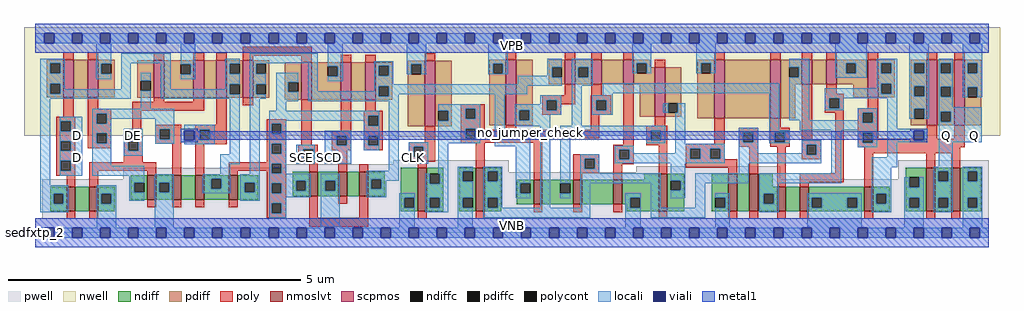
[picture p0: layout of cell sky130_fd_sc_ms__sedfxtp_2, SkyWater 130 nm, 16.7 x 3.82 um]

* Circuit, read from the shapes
.subckt sky130_fd_sc_ms__sedfxtp_2 CLK D DE SCD SCE VGND VNB VPB VPWR Q
XM1 n1 D n2 VNB sky130_fd_pr__nfet_01v8_lvt w=0.42 l=0.15
XM2 VGND DE n1 VNB sky130_fd_pr__nfet_01v8_lvt w=0.42 l=0.15
XM3 VGND DE n3 VNB sky130_fd_pr__nfet_01v8_lvt w=0.42 l=0.15
XM4 n4 n3 VGND VNB sky130_fd_pr__nfet_01v8_lvt w=0.42 l=0.15
XM5 n2 n5 n4 VNB sky130_fd_pr__nfet_01v8_lvt w=0.42 l=0.15
XM6 n6 n7 n2 VNB sky130_fd_pr__nfet_01v8_lvt w=0.42 l=0.15
XM7 VGND SCE n7 VNB sky130_fd_pr__nfet_01v8_lvt w=0.42 l=0.15
XM8 n8 SCD VGND VNB sky130_fd_pr__nfet_01v8_lvt w=0.42 l=0.15
XM9 n6 SCE n8 VNB sky130_fd_pr__nfet_01v8_lvt w=0.42 l=0.15
XM10 n9 CLK VGND VNB sky130_fd_pr__nfet_01v8_lvt w=0.74 l=0.15
XM11 n10 n9 VGND VNB sky130_fd_pr__nfet_01v8_lvt w=0.74 l=0.15
XM12 n11 n9 n6 VNB sky130_fd_pr__nfet_01v8_lvt w=0.42 l=0.15
XM13 n12 n10 n11 VNB sky130_fd_pr__nfet_01v8_lvt w=0.42 l=0.15
XM14 VGND n13 n12 VNB sky130_fd_pr__nfet_01v8_lvt w=0.42 l=0.15
XM15 n13 n11 VGND VNB sky130_fd_pr__nfet_01v8_lvt w=0.64 l=0.15
XM16 n14 n13 VGND VNB sky130_fd_pr__nfet_01v8_lvt w=0.64 l=0.15
XM17 n15 n10 n14 VNB sky130_fd_pr__nfet_01v8_lvt w=0.64 l=0.15
XM18 n16 n9 n15 VNB sky130_fd_pr__nfet_01v8_lvt w=0.42 l=0.15
XM19 VGND n5 n16 VNB sky130_fd_pr__nfet_01v8_lvt w=0.42 l=0.15
XM20 n5 n15 VGND VNB sky130_fd_pr__nfet_01v8_lvt w=0.42 l=0.15
XM21 Q n15 VGND VNB sky130_fd_pr__nfet_01v8_lvt w=0.74 l=0.15 m=2
XM22 n17 D n2 VPB sky130_fd_pr__pfet_01v8 w=0.64 l=0.18
XM23 VPWR n3 n17 VPB sky130_fd_pr__pfet_01v8 w=0.64 l=0.18
XM24 VPWR DE n3 VPB sky130_fd_pr__pfet_01v8 w=0.64 l=0.18
XM25 n18 DE VPWR VPB sky130_fd_pr__pfet_01v8 w=0.64 l=0.18
XM26 n2 n5 n18 VPB sky130_fd_pr__pfet_01v8 w=0.64 l=0.18
XM27 n6 SCE n2 VPB sky130_fd_pr__pfet_01v8 w=0.64 l=0.18
XM28 VPWR SCE n7 VPB sky130_fd_pr__pfet_01v8 w=0.64 l=0.18
XM29 n19 SCD VPWR VPB sky130_fd_pr__pfet_01v8 w=0.64 l=0.18
XM30 n6 n7 n19 VPB sky130_fd_pr__pfet_01v8 w=0.64 l=0.18
XM31 n9 CLK VPWR VPB sky130_fd_pr__pfet_01v8 w=1.12 l=0.18
XM32 n10 n9 VPWR VPB sky130_fd_pr__pfet_01v8 w=1.12 l=0.18
XM33 n11 n10 n6 VPB sky130_fd_pr__pfet_01v8 w=0.42 l=0.18
XM34 n20 n9 n11 VPB sky130_fd_pr__pfet_01v8 w=0.42 l=0.18
XM35 VPWR n13 n20 VPB sky130_fd_pr__pfet_01v8 w=0.42 l=0.18
XM36 n13 n11 VPWR VPB sky130_fd_pr__pfet_01v8 w=0.84 l=0.18
XM37 n21 n13 VPWR VPB sky130_fd_pr__pfet_01v8 w=1 l=0.18
XM38 n15 n9 n21 VPB sky130_fd_pr__pfet_01v8 w=1 l=0.18
XM39 n22 n10 n15 VPB sky130_fd_pr__pfet_01v8 w=0.42 l=0.18
XM40 VPWR n5 n22 VPB sky130_fd_pr__pfet_01v8 w=0.42 l=0.18
XM41 n5 n15 VPWR VPB sky130_fd_pr__pfet_01v8 w=0.64 l=0.18
XM42 Q n15 VPWR VPB sky130_fd_pr__pfet_01v8 w=1.12 l=0.18 m=2
.ends

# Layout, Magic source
magic
tech sky130A
magscale 1 2
<< nwell >>
rect -38 332 3302 704
rect 1240 328 1461 332
<< pwell >>
rect 1225 235 1621 248
rect 855 223 1621 235
rect 301 207 1621 223
rect 2058 207 2550 228
rect 301 184 2550 207
rect 2953 184 3263 248
rect 25 49 3263 184
rect 0 0 3264 49
<< scpmos >>
rect 96 464 132 592
rect 180 464 216 592
rect 406 463 442 591
rect 542 463 578 591
rect 620 463 656 591
rect 710 463 746 591
rect 910 455 946 583
rect 1046 455 1082 583
rect 1130 455 1166 583
rect 1333 364 1369 588
rect 1611 368 1647 592
rect 1813 508 1849 592
rect 1903 508 1939 592
rect 2013 508 2049 592
rect 2120 398 2156 566
rect 2324 392 2360 592
rect 2516 392 2552 592
rect 2624 508 2660 592
rect 2708 508 2744 592
rect 2850 464 2886 592
rect 3052 368 3088 592
rect 3145 368 3181 592
<< nmoslvt >>
rect 108 74 138 158
rect 186 74 216 158
rect 384 113 414 197
rect 470 113 500 197
rect 548 113 578 197
rect 663 113 693 197
rect 938 125 968 209
rect 1038 125 1068 209
rect 1110 125 1140 209
rect 1310 74 1340 222
rect 1508 74 1538 222
rect 1706 97 1736 181
rect 1842 97 1872 181
rect 1979 97 2009 181
rect 2134 74 2164 202
rect 2372 74 2402 202
rect 2444 74 2474 202
rect 2539 74 2569 158
rect 2617 74 2647 158
rect 2838 74 2868 158
rect 3050 74 3080 222
rect 3136 74 3166 222
<< ndiff >>
rect 327 172 384 197
rect 51 133 108 158
rect 51 99 63 133
rect 97 99 108 133
rect 51 74 108 99
rect 138 74 186 158
rect 216 133 273 158
rect 216 99 227 133
rect 261 99 273 133
rect 327 138 339 172
rect 373 138 384 172
rect 327 113 384 138
rect 414 172 470 197
rect 414 138 425 172
rect 459 138 470 172
rect 414 113 470 138
rect 500 113 548 197
rect 578 185 663 197
rect 578 151 603 185
rect 637 151 663 185
rect 578 113 663 151
rect 693 172 764 197
rect 693 138 718 172
rect 752 138 764 172
rect 693 113 764 138
rect 216 74 273 99
rect 881 178 938 209
rect 881 144 893 178
rect 927 144 938 178
rect 881 125 938 144
rect 968 178 1038 209
rect 968 144 993 178
rect 1027 144 1038 178
rect 968 125 1038 144
rect 1068 125 1110 209
rect 1140 184 1197 209
rect 1140 150 1151 184
rect 1185 150 1197 184
rect 1140 125 1197 150
rect 1251 120 1310 222
rect 1251 86 1264 120
rect 1298 86 1310 120
rect 1251 74 1310 86
rect 1340 202 1397 222
rect 1340 168 1351 202
rect 1385 168 1397 202
rect 1340 120 1397 168
rect 1340 86 1351 120
rect 1385 86 1397 120
rect 1340 74 1397 86
rect 1451 210 1508 222
rect 1451 176 1463 210
rect 1497 176 1508 210
rect 1451 120 1508 176
rect 1451 86 1463 120
rect 1497 86 1508 120
rect 1451 74 1508 86
rect 1538 210 1595 222
rect 1538 176 1549 210
rect 1583 176 1595 210
rect 2084 181 2134 202
rect 1538 120 1595 176
rect 1538 86 1549 120
rect 1583 86 1595 120
rect 1649 169 1706 181
rect 1649 135 1661 169
rect 1695 135 1706 169
rect 1649 97 1706 135
rect 1736 169 1842 181
rect 1736 135 1797 169
rect 1831 135 1842 169
rect 1736 97 1842 135
rect 1872 97 1979 181
rect 2009 120 2134 181
rect 2009 97 2037 120
rect 1538 74 1595 86
rect 2024 86 2037 97
rect 2071 86 2134 120
rect 2024 74 2134 86
rect 2164 179 2221 202
rect 2164 145 2175 179
rect 2209 145 2221 179
rect 2164 74 2221 145
rect 2315 120 2372 202
rect 2315 86 2327 120
rect 2361 86 2372 120
rect 2315 74 2372 86
rect 2402 74 2444 202
rect 2474 158 2524 202
rect 2979 190 3050 222
rect 2474 133 2539 158
rect 2474 99 2494 133
rect 2528 99 2539 133
rect 2474 74 2539 99
rect 2569 74 2617 158
rect 2647 120 2838 158
rect 2647 86 2658 120
rect 2692 86 2779 120
rect 2813 86 2838 120
rect 2647 74 2838 86
rect 2868 133 2925 158
rect 2868 99 2879 133
rect 2913 99 2925 133
rect 2868 74 2925 99
rect 2979 156 2991 190
rect 3025 156 3050 190
rect 2979 120 3050 156
rect 2979 86 2991 120
rect 3025 86 3050 120
rect 2979 74 3050 86
rect 3080 210 3136 222
rect 3080 176 3091 210
rect 3125 176 3136 210
rect 3080 120 3136 176
rect 3080 86 3091 120
rect 3125 86 3136 120
rect 3080 74 3136 86
rect 3166 210 3237 222
rect 3166 176 3191 210
rect 3225 176 3237 210
rect 3166 120 3237 176
rect 3166 86 3191 120
rect 3225 86 3237 120
rect 3166 74 3237 86
<< pdiff >>
rect 40 580 96 592
rect 40 546 52 580
rect 86 546 96 580
rect 40 510 96 546
rect 40 476 52 510
rect 86 476 96 510
rect 40 464 96 476
rect 132 464 180 592
rect 216 578 272 592
rect 216 544 226 578
rect 260 544 272 578
rect 216 464 272 544
rect 350 520 406 591
rect 350 486 362 520
rect 396 486 406 520
rect 350 463 406 486
rect 442 577 542 591
rect 442 543 498 577
rect 532 543 542 577
rect 442 463 542 543
rect 578 463 620 591
rect 656 579 710 591
rect 656 545 666 579
rect 700 545 710 579
rect 656 509 710 545
rect 656 475 666 509
rect 700 475 710 509
rect 656 463 710 475
rect 746 579 801 591
rect 746 545 756 579
rect 790 545 801 579
rect 746 509 801 545
rect 746 475 756 509
rect 790 475 801 509
rect 746 463 801 475
rect 855 516 910 583
rect 855 482 866 516
rect 900 482 910 516
rect 855 455 910 482
rect 946 570 1046 583
rect 946 536 1002 570
rect 1036 536 1046 570
rect 946 455 1046 536
rect 1082 455 1130 583
rect 1166 571 1222 583
rect 1166 537 1176 571
rect 1210 537 1222 571
rect 1166 501 1222 537
rect 1166 467 1176 501
rect 1210 467 1222 501
rect 1166 455 1222 467
rect 1276 576 1333 588
rect 1276 542 1288 576
rect 1322 542 1333 576
rect 1276 364 1333 542
rect 1369 417 1425 588
rect 1555 578 1611 592
rect 1555 544 1567 578
rect 1601 544 1611 578
rect 1369 383 1379 417
rect 1413 383 1425 417
rect 1369 364 1425 383
rect 1555 368 1611 544
rect 1647 419 1703 592
rect 1757 567 1813 592
rect 1757 533 1769 567
rect 1803 533 1813 567
rect 1757 508 1813 533
rect 1849 567 1903 592
rect 1849 533 1859 567
rect 1893 533 1903 567
rect 1849 508 1903 533
rect 1939 508 2013 592
rect 2049 580 2105 592
rect 2049 546 2059 580
rect 2093 566 2105 580
rect 2266 580 2324 592
rect 2093 546 2120 566
rect 2049 508 2120 546
rect 1647 385 1657 419
rect 1691 385 1703 419
rect 1647 368 1703 385
rect 2070 398 2120 508
rect 2156 444 2212 566
rect 2156 410 2166 444
rect 2200 410 2212 444
rect 2156 398 2212 410
rect 2266 546 2279 580
rect 2313 546 2324 580
rect 2266 392 2324 546
rect 2360 392 2516 592
rect 2552 567 2624 592
rect 2552 533 2580 567
rect 2614 533 2624 567
rect 2552 508 2624 533
rect 2660 508 2708 592
rect 2744 580 2850 592
rect 2744 546 2775 580
rect 2809 546 2850 580
rect 2744 508 2850 546
rect 2552 392 2602 508
rect 2800 464 2850 508
rect 2886 580 2942 592
rect 2886 546 2896 580
rect 2930 546 2942 580
rect 2886 510 2942 546
rect 2886 476 2896 510
rect 2930 476 2942 510
rect 2886 464 2942 476
rect 2996 580 3052 592
rect 2996 546 3008 580
rect 3042 546 3052 580
rect 2996 501 3052 546
rect 2996 467 3008 501
rect 3042 467 3052 501
rect 2996 424 3052 467
rect 2996 390 3008 424
rect 3042 390 3052 424
rect 2996 368 3052 390
rect 3088 580 3145 592
rect 3088 546 3099 580
rect 3133 546 3145 580
rect 3088 499 3145 546
rect 3088 465 3099 499
rect 3133 465 3145 499
rect 3088 414 3145 465
rect 3088 380 3099 414
rect 3133 380 3145 414
rect 3088 368 3145 380
rect 3181 580 3237 592
rect 3181 546 3191 580
rect 3225 546 3237 580
rect 3181 498 3237 546
rect 3181 464 3191 498
rect 3225 464 3237 498
rect 3181 368 3237 464
<< ndiffc >>
rect 63 99 97 133
rect 227 99 261 133
rect 339 138 373 172
rect 425 138 459 172
rect 603 151 637 185
rect 718 138 752 172
rect 893 144 927 178
rect 993 144 1027 178
rect 1151 150 1185 184
rect 1264 86 1298 120
rect 1351 168 1385 202
rect 1351 86 1385 120
rect 1463 176 1497 210
rect 1463 86 1497 120
rect 1549 176 1583 210
rect 1549 86 1583 120
rect 1661 135 1695 169
rect 1797 135 1831 169
rect 2037 86 2071 120
rect 2175 145 2209 179
rect 2327 86 2361 120
rect 2494 99 2528 133
rect 2658 86 2692 120
rect 2779 86 2813 120
rect 2879 99 2913 133
rect 2991 156 3025 190
rect 2991 86 3025 120
rect 3091 176 3125 210
rect 3091 86 3125 120
rect 3191 176 3225 210
rect 3191 86 3225 120
<< pdiffc >>
rect 52 546 86 580
rect 52 476 86 510
rect 226 544 260 578
rect 362 486 396 520
rect 498 543 532 577
rect 666 545 700 579
rect 666 475 700 509
rect 756 545 790 579
rect 756 475 790 509
rect 866 482 900 516
rect 1002 536 1036 570
rect 1176 537 1210 571
rect 1176 467 1210 501
rect 1288 542 1322 576
rect 1567 544 1601 578
rect 1379 383 1413 417
rect 1769 533 1803 567
rect 1859 533 1893 567
rect 2059 546 2093 580
rect 1657 385 1691 419
rect 2166 410 2200 444
rect 2279 546 2313 580
rect 2580 533 2614 567
rect 2775 546 2809 580
rect 2896 546 2930 580
rect 2896 476 2930 510
rect 3008 546 3042 580
rect 3008 467 3042 501
rect 3008 390 3042 424
rect 3099 546 3133 580
rect 3099 465 3133 499
rect 3099 380 3133 414
rect 3191 546 3225 580
rect 3191 464 3225 498
<< poly >>
rect 96 592 132 618
rect 180 592 216 618
rect 406 591 442 617
rect 542 591 578 617
rect 620 591 656 617
rect 710 606 946 636
rect 710 591 746 606
rect 96 398 132 464
rect 180 424 216 464
rect 910 583 946 606
rect 1046 583 1082 609
rect 1130 583 1166 609
rect 1333 588 1369 614
rect 1611 592 1647 618
rect 1813 592 1849 618
rect 1903 592 1939 618
rect 2013 592 2049 618
rect 2324 592 2360 618
rect 2516 592 2552 618
rect 2624 592 2660 618
rect 2708 592 2744 618
rect 2850 592 2886 618
rect 3052 592 3088 618
rect 3145 592 3181 618
rect 406 448 442 463
rect 542 448 578 463
rect 180 408 261 424
rect 72 382 138 398
rect 72 348 88 382
rect 122 348 138 382
rect 72 314 138 348
rect 72 280 88 314
rect 122 280 138 314
rect 180 374 211 408
rect 245 374 261 408
rect 180 340 261 374
rect 180 306 211 340
rect 245 306 261 340
rect 333 418 578 448
rect 333 330 363 418
rect 411 354 500 370
rect 620 369 656 463
rect 710 437 746 463
rect 180 290 261 306
rect 303 314 369 330
rect 72 246 138 280
rect 72 212 88 246
rect 122 212 138 246
rect 303 280 319 314
rect 353 280 369 314
rect 411 320 427 354
rect 461 320 500 354
rect 411 304 500 320
rect 303 242 369 280
rect 72 196 138 212
rect 108 158 138 196
rect 186 212 414 242
rect 186 158 216 212
rect 384 197 414 212
rect 470 197 500 304
rect 548 353 656 369
rect 548 319 564 353
rect 598 319 656 353
rect 548 303 656 319
rect 793 373 859 389
rect 793 339 809 373
rect 843 339 859 373
rect 793 305 859 339
rect 548 197 578 303
rect 793 271 809 305
rect 843 271 859 305
rect 910 302 946 455
rect 1046 349 1082 455
rect 1130 417 1166 455
rect 1016 333 1082 349
rect 793 242 859 271
rect 663 237 859 242
rect 663 212 809 237
rect 663 197 693 212
rect 793 203 809 212
rect 843 203 859 237
rect 901 286 968 302
rect 901 252 917 286
rect 951 252 968 286
rect 1016 299 1032 333
rect 1066 299 1082 333
rect 1016 283 1082 299
rect 1124 401 1190 417
rect 1124 367 1140 401
rect 1174 367 1190 401
rect 1124 333 1190 367
rect 1457 424 1538 440
rect 1457 390 1473 424
rect 1507 390 1538 424
rect 1124 299 1140 333
rect 1174 299 1190 333
rect 1333 310 1369 364
rect 1124 283 1190 299
rect 1279 294 1369 310
rect 1457 356 1538 390
rect 2120 566 2156 592
rect 1813 470 1849 508
rect 1903 470 1939 508
rect 1735 454 1849 470
rect 1735 420 1751 454
rect 1785 440 1849 454
rect 1901 454 1971 470
rect 1785 420 1801 440
rect 1735 404 1801 420
rect 1901 420 1921 454
rect 1955 420 1971 454
rect 1901 404 1971 420
rect 1457 322 1473 356
rect 1507 353 1538 356
rect 1611 353 1647 368
rect 1901 353 1931 404
rect 1507 323 1931 353
rect 1507 322 1736 323
rect 1457 309 1736 322
rect 1457 306 1538 309
rect 901 236 968 252
rect 938 209 968 236
rect 1038 209 1068 283
rect 1279 260 1295 294
rect 1329 260 1369 294
rect 1279 244 1369 260
rect 1110 209 1140 235
rect 1310 222 1340 244
rect 1508 222 1538 306
rect 793 169 859 203
rect 793 135 809 169
rect 843 135 859 169
rect 384 87 414 113
rect 470 87 500 113
rect 548 87 578 113
rect 663 87 693 113
rect 793 101 859 135
rect 108 48 138 74
rect 186 48 216 74
rect 793 67 809 101
rect 843 67 859 101
rect 793 51 859 67
rect 938 51 968 125
rect 1038 99 1068 125
rect 1110 51 1140 125
rect 1706 181 1736 309
rect 2013 301 2049 508
rect 2120 366 2156 398
rect 1979 285 2049 301
rect 2091 350 2164 366
rect 2091 316 2107 350
rect 2141 316 2164 350
rect 2091 300 2164 316
rect 2324 304 2360 392
rect 2516 360 2552 392
rect 1842 253 1931 269
rect 1842 219 1881 253
rect 1915 219 1931 253
rect 1842 203 1931 219
rect 1979 251 1999 285
rect 2033 251 2049 285
rect 1979 235 2049 251
rect 1842 181 1872 203
rect 1979 181 2009 235
rect 2134 202 2164 300
rect 2226 288 2360 304
rect 2408 344 2474 360
rect 2408 310 2424 344
rect 2458 310 2474 344
rect 2408 294 2474 310
rect 2516 344 2582 360
rect 2516 310 2532 344
rect 2566 310 2582 344
rect 2516 294 2582 310
rect 2624 317 2660 508
rect 2708 476 2744 508
rect 2702 460 2768 476
rect 2702 426 2718 460
rect 2752 426 2768 460
rect 2850 426 2886 464
rect 2702 410 2768 426
rect 2624 301 2690 317
rect 2226 254 2242 288
rect 2276 254 2310 288
rect 2344 254 2360 288
rect 2226 252 2360 254
rect 2226 222 2402 252
rect 2372 202 2402 222
rect 2444 202 2474 294
rect 938 21 1140 51
rect 1310 48 1340 74
rect 1508 48 1538 74
rect 1706 71 1736 97
rect 1842 71 1872 97
rect 1979 71 2009 97
rect 2539 158 2569 294
rect 2624 267 2640 301
rect 2674 267 2690 301
rect 2624 251 2690 267
rect 2738 203 2768 410
rect 2816 410 2886 426
rect 2816 376 2832 410
rect 2866 376 2886 410
rect 2816 342 2886 376
rect 2816 308 2832 342
rect 2866 322 2886 342
rect 3052 322 3088 368
rect 3145 322 3181 368
rect 2866 308 3181 322
rect 2816 292 3181 308
rect 2617 173 2768 203
rect 2838 272 3166 292
rect 2617 158 2647 173
rect 2838 158 2868 272
rect 3050 222 3080 272
rect 3136 222 3166 272
rect 2134 48 2164 74
rect 2372 48 2402 74
rect 2444 48 2474 74
rect 2539 48 2569 74
rect 2617 48 2647 74
rect 2838 48 2868 74
rect 3050 48 3080 74
rect 3136 48 3166 74
<< polycont >>
rect 88 348 122 382
rect 88 280 122 314
rect 211 374 245 408
rect 211 306 245 340
rect 88 212 122 246
rect 319 280 353 314
rect 427 320 461 354
rect 564 319 598 353
rect 809 339 843 373
rect 809 271 843 305
rect 809 203 843 237
rect 917 252 951 286
rect 1032 299 1066 333
rect 1140 367 1174 401
rect 1473 390 1507 424
rect 1140 299 1174 333
rect 1751 420 1785 454
rect 1921 420 1955 454
rect 1473 322 1507 356
rect 1295 260 1329 294
rect 809 135 843 169
rect 809 67 843 101
rect 2107 316 2141 350
rect 1881 219 1915 253
rect 1999 251 2033 285
rect 2424 310 2458 344
rect 2532 310 2566 344
rect 2718 426 2752 460
rect 2242 254 2276 288
rect 2310 254 2344 288
rect 2640 267 2674 301
rect 2832 376 2866 410
rect 2832 308 2866 342
<< locali >>
rect 0 649 31 683
rect 65 649 127 683
rect 161 649 223 683
rect 257 649 319 683
rect 353 649 415 683
rect 449 649 511 683
rect 545 649 607 683
rect 641 649 703 683
rect 737 649 799 683
rect 833 649 895 683
rect 929 649 991 683
rect 1025 649 1087 683
rect 1121 649 1183 683
rect 1217 649 1279 683
rect 1313 649 1375 683
rect 1409 649 1471 683
rect 1505 649 1567 683
rect 1601 649 1663 683
rect 1697 649 1759 683
rect 1793 649 1855 683
rect 1889 649 1951 683
rect 1985 649 2047 683
rect 2081 649 2143 683
rect 2177 649 2239 683
rect 2273 649 2335 683
rect 2369 649 2431 683
rect 2465 649 2527 683
rect 2561 649 2623 683
rect 2657 649 2719 683
rect 2753 649 2815 683
rect 2849 649 2911 683
rect 2945 649 3007 683
rect 3041 649 3103 683
rect 3137 649 3199 683
rect 3233 649 3264 683
rect 17 580 102 596
rect 17 546 52 580
rect 86 546 102 580
rect 17 510 102 546
rect 210 578 260 649
rect 210 544 226 578
rect 210 526 260 544
rect 294 581 464 615
rect 17 476 52 510
rect 86 492 102 510
rect 294 492 328 581
rect 86 476 328 492
rect 17 458 328 476
rect 362 520 396 547
rect 17 162 51 458
rect 362 424 396 486
rect 430 492 464 581
rect 498 577 548 649
rect 532 543 548 577
rect 498 526 548 543
rect 650 579 700 595
rect 650 545 666 579
rect 650 509 700 545
rect 650 492 666 509
rect 430 475 666 492
rect 430 458 700 475
rect 195 408 477 424
rect 85 382 161 398
rect 85 348 88 382
rect 122 348 161 382
rect 85 314 161 348
rect 85 280 88 314
rect 122 280 161 314
rect 85 246 161 280
rect 85 212 88 246
rect 122 212 161 246
rect 85 196 161 212
rect 195 374 211 408
rect 245 390 477 408
rect 245 374 261 390
rect 195 340 261 374
rect 195 306 211 340
rect 245 306 261 340
rect 195 230 261 306
rect 303 314 369 356
rect 303 280 319 314
rect 353 280 369 314
rect 411 354 477 390
rect 411 320 427 354
rect 461 320 477 354
rect 411 304 477 320
rect 511 353 614 369
rect 511 350 564 353
rect 545 319 564 350
rect 598 319 614 353
rect 545 316 614 319
rect 511 303 614 316
rect 303 264 369 280
rect 666 269 700 458
rect 634 235 700 269
rect 734 581 968 615
rect 734 579 790 581
rect 734 545 756 579
rect 734 509 790 545
rect 734 475 756 509
rect 734 459 790 475
rect 825 516 900 547
rect 825 482 866 516
rect 195 196 373 230
rect 634 201 668 235
rect 734 201 768 459
rect 825 451 900 482
rect 934 485 968 581
rect 1002 570 1052 649
rect 1036 536 1052 570
rect 1002 519 1052 536
rect 1160 571 1226 587
rect 1160 537 1176 571
rect 1210 537 1226 571
rect 1272 576 1339 649
rect 1272 542 1288 576
rect 1322 542 1339 576
rect 1551 578 1617 649
rect 1551 544 1567 578
rect 1601 544 1617 578
rect 1551 542 1617 544
rect 1753 567 1803 596
rect 1753 538 1769 567
rect 1160 508 1226 537
rect 1651 533 1769 538
rect 1651 508 1803 533
rect 1160 504 1803 508
rect 1837 567 1909 596
rect 1837 533 1859 567
rect 1893 533 1909 567
rect 2043 580 2109 649
rect 2043 546 2059 580
rect 2093 546 2109 580
rect 2262 580 2330 649
rect 2262 546 2279 580
rect 2313 546 2330 580
rect 2580 567 2650 596
rect 1837 504 1909 533
rect 2614 533 2650 567
rect 1160 501 1685 504
rect 1160 485 1176 501
rect 934 467 1176 485
rect 1210 474 1685 501
rect 1210 467 1245 474
rect 934 451 1245 467
rect 825 417 859 451
rect 323 172 373 196
rect 17 133 113 162
rect 17 99 63 133
rect 97 99 113 133
rect 17 70 113 99
rect 211 133 277 162
rect 211 99 227 133
rect 261 99 277 133
rect 323 138 339 172
rect 323 109 373 138
rect 409 172 475 201
rect 409 138 425 172
rect 459 138 475 172
rect 211 17 277 99
rect 409 17 475 138
rect 573 185 668 201
rect 573 151 603 185
rect 637 151 668 185
rect 573 135 668 151
rect 702 172 768 201
rect 702 138 718 172
rect 752 138 768 172
rect 702 109 768 138
rect 802 401 1177 417
rect 802 383 1140 401
rect 802 373 859 383
rect 802 339 809 373
rect 843 339 859 373
rect 1124 367 1140 383
rect 1174 367 1177 401
rect 802 305 859 339
rect 802 271 809 305
rect 843 271 859 305
rect 991 333 1082 349
rect 802 237 859 271
rect 802 203 809 237
rect 843 203 859 237
rect 893 286 957 302
rect 893 252 917 286
rect 951 252 957 286
rect 893 236 957 252
rect 991 299 1032 333
rect 1066 299 1082 333
rect 991 236 1082 299
rect 1124 333 1177 367
rect 1124 299 1140 333
rect 1174 299 1177 333
rect 1124 283 1177 299
rect 1211 213 1245 451
rect 1379 424 1523 440
rect 1379 417 1473 424
rect 1413 390 1473 417
rect 1507 390 1523 424
rect 1413 383 1523 390
rect 1379 356 1523 383
rect 1379 322 1473 356
rect 1507 322 1523 356
rect 1279 294 1345 310
rect 1279 260 1295 294
rect 1329 260 1345 294
rect 1279 236 1345 260
rect 1379 306 1523 322
rect 1573 330 1607 474
rect 1729 454 1801 470
rect 1729 440 1751 454
rect 1641 420 1751 440
rect 1785 420 1801 454
rect 1641 419 1801 420
rect 1641 385 1657 419
rect 1691 404 1801 419
rect 1691 385 1763 404
rect 1641 364 1763 385
rect 1837 366 1871 504
rect 1943 478 2546 512
rect 1943 470 1977 478
rect 1905 454 1977 470
rect 1905 420 1921 454
rect 1955 420 1977 454
rect 1905 404 1977 420
rect 2150 410 2166 444
rect 2200 410 2225 444
rect 802 202 859 203
rect 802 178 943 202
rect 802 169 893 178
rect 802 135 809 169
rect 843 144 893 169
rect 927 144 943 178
rect 843 135 943 144
rect 802 121 943 135
rect 977 178 1043 202
rect 977 144 993 178
rect 1027 144 1043 178
rect 802 101 859 121
rect 802 67 809 101
rect 843 67 859 101
rect 802 51 859 67
rect 977 17 1043 144
rect 1135 184 1245 213
rect 1379 202 1413 306
rect 1573 296 1695 330
rect 1135 150 1151 184
rect 1185 179 1245 184
rect 1185 150 1201 179
rect 1135 121 1201 150
rect 1335 168 1351 202
rect 1385 168 1413 202
rect 1247 120 1299 136
rect 1247 86 1264 120
rect 1298 86 1299 120
rect 1247 17 1299 86
rect 1335 120 1413 168
rect 1335 86 1351 120
rect 1385 86 1413 120
rect 1335 70 1413 86
rect 1447 210 1497 226
rect 1447 176 1463 210
rect 1447 120 1497 176
rect 1447 86 1463 120
rect 1447 17 1497 86
rect 1533 210 1599 226
rect 1533 176 1549 210
rect 1583 176 1599 210
rect 1533 120 1599 176
rect 1533 86 1549 120
rect 1583 86 1599 120
rect 1645 169 1695 296
rect 1645 135 1661 169
rect 1645 119 1695 135
rect 1533 85 1599 86
rect 1729 85 1763 364
rect 1797 350 2157 366
rect 1797 332 2107 350
rect 1797 169 1831 332
rect 2091 316 2107 332
rect 2141 316 2157 350
rect 2091 306 2157 316
rect 2191 304 2225 410
rect 2408 344 2474 360
rect 2408 310 2424 344
rect 2458 310 2474 344
rect 1983 285 2049 298
rect 1797 119 1831 135
rect 1865 253 1931 269
rect 1865 219 1881 253
rect 1915 219 1931 253
rect 1983 251 1999 285
rect 2033 272 2049 285
rect 2191 288 2360 304
rect 2191 272 2242 288
rect 2033 254 2242 272
rect 2276 254 2310 288
rect 2344 254 2360 288
rect 2033 251 2360 254
rect 1983 238 2360 251
rect 2408 272 2474 310
rect 2512 351 2546 478
rect 2580 385 2650 533
rect 2738 580 2846 649
rect 2738 546 2775 580
rect 2809 546 2846 580
rect 2738 530 2846 546
rect 2880 580 2950 596
rect 2880 546 2896 580
rect 2930 546 2950 580
rect 2880 510 2950 546
rect 2880 494 2896 510
rect 2702 476 2896 494
rect 2930 476 2950 510
rect 2702 460 2950 476
rect 2702 426 2718 460
rect 2752 426 2768 460
rect 2702 419 2768 426
rect 2816 410 2882 426
rect 2816 385 2832 410
rect 2616 376 2832 385
rect 2866 376 2882 410
rect 2616 351 2882 376
rect 2512 344 2582 351
rect 2512 310 2532 344
rect 2566 310 2582 344
rect 2512 306 2582 310
rect 2624 301 2690 317
rect 2624 272 2640 301
rect 2408 267 2640 272
rect 2674 267 2690 301
rect 2408 238 2690 267
rect 1865 204 1931 219
rect 1865 170 2141 204
rect 1865 85 1899 170
rect 1533 51 1899 85
rect 2020 120 2073 136
rect 2020 86 2037 120
rect 2071 86 2073 120
rect 2020 17 2073 86
rect 2107 85 2141 170
rect 2175 179 2225 238
rect 2408 204 2442 238
rect 2724 204 2758 351
rect 2816 342 2882 351
rect 2816 308 2832 342
rect 2866 308 2882 342
rect 2816 292 2882 308
rect 2916 356 2950 460
rect 2992 580 3058 649
rect 2992 546 3008 580
rect 3042 546 3058 580
rect 2992 501 3058 546
rect 2992 467 3008 501
rect 3042 467 3058 501
rect 2992 424 3058 467
rect 2992 390 3008 424
rect 3042 390 3058 424
rect 3092 580 3141 596
rect 3092 546 3099 580
rect 3133 546 3141 580
rect 3092 499 3141 546
rect 3092 465 3099 499
rect 3133 465 3141 499
rect 3092 430 3141 465
rect 3175 580 3241 649
rect 3175 546 3191 580
rect 3225 546 3241 580
rect 3175 498 3241 546
rect 3175 464 3191 498
rect 3225 464 3241 498
rect 3092 414 3239 430
rect 3092 380 3099 414
rect 3133 380 3239 414
rect 2916 350 3047 356
rect 2916 316 3007 350
rect 3041 316 3047 350
rect 2916 310 3047 316
rect 3092 310 3239 380
rect 2916 258 2950 310
rect 2209 145 2225 179
rect 2175 119 2225 145
rect 2259 170 2442 204
rect 2478 170 2758 204
rect 2863 224 2950 258
rect 3092 226 3141 310
rect 2259 85 2293 170
rect 2107 51 2293 85
rect 2327 120 2377 136
rect 2361 86 2377 120
rect 2327 17 2377 86
rect 2478 133 2544 170
rect 2478 99 2494 133
rect 2528 99 2544 133
rect 2478 70 2544 99
rect 2642 120 2829 136
rect 2642 86 2658 120
rect 2692 86 2779 120
rect 2813 86 2829 120
rect 2642 17 2829 86
rect 2863 133 2929 224
rect 3075 210 3141 226
rect 2863 99 2879 133
rect 2913 99 2929 133
rect 2863 70 2929 99
rect 2975 156 2991 190
rect 3025 156 3041 190
rect 2975 120 3041 156
rect 2975 86 2991 120
rect 3025 86 3041 120
rect 2975 17 3041 86
rect 3075 176 3091 210
rect 3125 176 3141 210
rect 3075 120 3141 176
rect 3075 86 3091 120
rect 3125 86 3141 120
rect 3075 70 3141 86
rect 3175 210 3241 226
rect 3175 176 3191 210
rect 3225 176 3241 210
rect 3175 120 3241 176
rect 3175 86 3191 120
rect 3225 86 3241 120
rect 3175 17 3241 86
rect 0 -17 31 17
rect 65 -17 127 17
rect 161 -17 223 17
rect 257 -17 319 17
rect 353 -17 415 17
rect 449 -17 511 17
rect 545 -17 607 17
rect 641 -17 703 17
rect 737 -17 799 17
rect 833 -17 895 17
rect 929 -17 991 17
rect 1025 -17 1087 17
rect 1121 -17 1183 17
rect 1217 -17 1279 17
rect 1313 -17 1375 17
rect 1409 -17 1471 17
rect 1505 -17 1567 17
rect 1601 -17 1663 17
rect 1697 -17 1759 17
rect 1793 -17 1855 17
rect 1889 -17 1951 17
rect 1985 -17 2047 17
rect 2081 -17 2143 17
rect 2177 -17 2239 17
rect 2273 -17 2335 17
rect 2369 -17 2431 17
rect 2465 -17 2527 17
rect 2561 -17 2623 17
rect 2657 -17 2719 17
rect 2753 -17 2815 17
rect 2849 -17 2911 17
rect 2945 -17 3007 17
rect 3041 -17 3103 17
rect 3137 -17 3199 17
rect 3233 -17 3264 17
<< viali >>
rect 31 649 65 683
rect 127 649 161 683
rect 223 649 257 683
rect 319 649 353 683
rect 415 649 449 683
rect 511 649 545 683
rect 607 649 641 683
rect 703 649 737 683
rect 799 649 833 683
rect 895 649 929 683
rect 991 649 1025 683
rect 1087 649 1121 683
rect 1183 649 1217 683
rect 1279 649 1313 683
rect 1375 649 1409 683
rect 1471 649 1505 683
rect 1567 649 1601 683
rect 1663 649 1697 683
rect 1759 649 1793 683
rect 1855 649 1889 683
rect 1951 649 1985 683
rect 2047 649 2081 683
rect 2143 649 2177 683
rect 2239 649 2273 683
rect 2335 649 2369 683
rect 2431 649 2465 683
rect 2527 649 2561 683
rect 2623 649 2657 683
rect 2719 649 2753 683
rect 2815 649 2849 683
rect 2911 649 2945 683
rect 3007 649 3041 683
rect 3103 649 3137 683
rect 3199 649 3233 683
rect 511 316 545 350
rect 3007 316 3041 350
rect 31 -17 65 17
rect 127 -17 161 17
rect 223 -17 257 17
rect 319 -17 353 17
rect 415 -17 449 17
rect 511 -17 545 17
rect 607 -17 641 17
rect 703 -17 737 17
rect 799 -17 833 17
rect 895 -17 929 17
rect 991 -17 1025 17
rect 1087 -17 1121 17
rect 1183 -17 1217 17
rect 1279 -17 1313 17
rect 1375 -17 1409 17
rect 1471 -17 1505 17
rect 1567 -17 1601 17
rect 1663 -17 1697 17
rect 1759 -17 1793 17
rect 1855 -17 1889 17
rect 1951 -17 1985 17
rect 2047 -17 2081 17
rect 2143 -17 2177 17
rect 2239 -17 2273 17
rect 2335 -17 2369 17
rect 2431 -17 2465 17
rect 2527 -17 2561 17
rect 2623 -17 2657 17
rect 2719 -17 2753 17
rect 2815 -17 2849 17
rect 2911 -17 2945 17
rect 3007 -17 3041 17
rect 3103 -17 3137 17
rect 3199 -17 3233 17
<< metal1 >>
rect 0 683 3264 715
rect 0 649 31 683
rect 65 649 127 683
rect 161 649 223 683
rect 257 649 319 683
rect 353 649 415 683
rect 449 649 511 683
rect 545 649 607 683
rect 641 649 703 683
rect 737 649 799 683
rect 833 649 895 683
rect 929 649 991 683
rect 1025 649 1087 683
rect 1121 649 1183 683
rect 1217 649 1279 683
rect 1313 649 1375 683
rect 1409 649 1471 683
rect 1505 649 1567 683
rect 1601 649 1663 683
rect 1697 649 1759 683
rect 1793 649 1855 683
rect 1889 649 1951 683
rect 1985 649 2047 683
rect 2081 649 2143 683
rect 2177 649 2239 683
rect 2273 649 2335 683
rect 2369 649 2431 683
rect 2465 649 2527 683
rect 2561 649 2623 683
rect 2657 649 2719 683
rect 2753 649 2815 683
rect 2849 649 2911 683
rect 2945 649 3007 683
rect 3041 649 3103 683
rect 3137 649 3199 683
rect 3233 649 3264 683
rect 0 617 3264 649
rect 499 350 557 356
rect 499 316 511 350
rect 545 347 557 350
rect 2995 350 3053 356
rect 2995 347 3007 350
rect 545 319 3007 347
rect 545 316 557 319
rect 499 310 557 316
rect 2995 316 3007 319
rect 3041 316 3053 350
rect 2995 310 3053 316
rect 0 17 3264 49
rect 0 -17 31 17
rect 65 -17 127 17
rect 161 -17 223 17
rect 257 -17 319 17
rect 353 -17 415 17
rect 449 -17 511 17
rect 545 -17 607 17
rect 641 -17 703 17
rect 737 -17 799 17
rect 833 -17 895 17
rect 929 -17 991 17
rect 1025 -17 1087 17
rect 1121 -17 1183 17
rect 1217 -17 1279 17
rect 1313 -17 1375 17
rect 1409 -17 1471 17
rect 1505 -17 1567 17
rect 1601 -17 1663 17
rect 1697 -17 1759 17
rect 1793 -17 1855 17
rect 1889 -17 1951 17
rect 1985 -17 2047 17
rect 2081 -17 2143 17
rect 2177 -17 2239 17
rect 2273 -17 2335 17
rect 2369 -17 2431 17
rect 2465 -17 2527 17
rect 2561 -17 2623 17
rect 2657 -17 2719 17
rect 2753 -17 2815 17
rect 2849 -17 2911 17
rect 2945 -17 3007 17
rect 3041 -17 3103 17
rect 3137 -17 3199 17
rect 3233 -17 3264 17
rect 0 -49 3264 -17
<< labels >>
flabel pwell s 0 0 3264 49 0 FreeSans 200 0 0 0 VNB
port 7 nsew ground bidirectional
flabel nwell s 0 617 3264 666 0 FreeSans 200 0 0 0 VPB
port 8 nsew power bidirectional
rlabel comment s 0 0 0 0 4 sedfxtp_2
flabel comment s 1694 343 1694 343 0 FreeSans 200 0 0 0 no_jumper_check
flabel metal1 s 0 617 3264 666 0 FreeSans 340 0 0 0 VPWR
port 9 nsew power bidirectional
flabel metal1 s 0 0 3264 49 0 FreeSans 340 0 0 0 VGND
port 6 nsew ground bidirectional
flabel locali s 895 242 929 276 0 FreeSans 340 0 0 0 SCE
port 5 nsew signal input
flabel locali s 1279 242 1313 276 0 FreeSans 340 0 0 0 CLK
port 1 nsew clock input
flabel locali s 127 242 161 276 0 FreeSans 340 0 0 0 D
port 2 nsew signal input
flabel locali s 127 316 161 350 0 FreeSans 340 0 0 0 D
port 2 nsew signal input
flabel locali s 319 316 353 350 0 FreeSans 340 0 0 0 DE
port 3 nsew signal input
flabel locali s 991 242 1025 276 0 FreeSans 340 0 0 0 SCD
port 4 nsew signal input
flabel locali s 3103 316 3137 350 0 FreeSans 340 0 0 0 Q
port 10 nsew signal output
flabel locali s 3199 316 3233 350 0 FreeSans 340 0 0 0 Q
port 10 nsew signal output
<< properties >>
string LEFsite unit
string LEFclass CORE
string FIXED_BBOX 0 0 3264 666
string GDS_FILE $PDKPATH/libs.ref/sky130_fd_sc_ms/gds/sky130_fd_sc_ms.gds
string LEFsymmetry X Y
string GDS_END 1899352
string GDS_START 1877782
<< end >>
